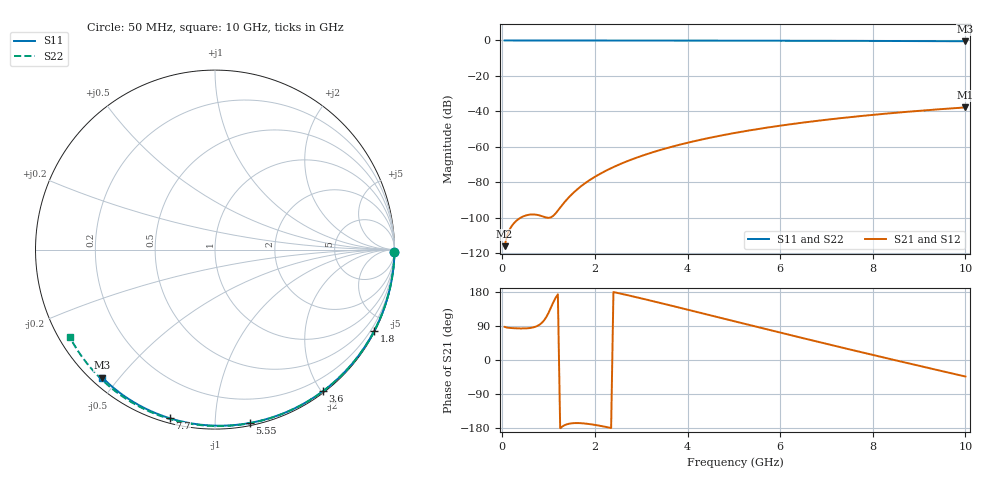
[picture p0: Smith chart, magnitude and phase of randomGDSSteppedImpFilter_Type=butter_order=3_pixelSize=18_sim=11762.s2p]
! freq	dB(S11)	phase(S11)	dB(S12)	phase(S12)
!  dB(S21)	phase(S21)	dB(S22)	phase(S22)
!S-par simulation data
#  GHz  S  DB  R 50
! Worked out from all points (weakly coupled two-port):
!   200 points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, 50 MHz to 10 GHz, reference 50 ohm
!   highest |S21| = -37.80 dB at 10 GHz (marker M1); lowest = -116.1 dB at 50 MHz (marker M2)
!   lowest |S11| = -0.4 dB at 10 GHz (marker M3), VSWR 39.09, Z = 1.54 - j22.6 ohm
!   |S11| at or under -10 dB: nowhere
!   |S22| runs from -0.5 to 0.0 dB; largest |S21 - S12| = 0
!   S11 on the Smith chart (normalised r, x): 50 MHz: open; 1.8 GHz: 0.04, -4.18; 3.6 GHz: 0.02, -2.02; 5.55 GHz: 0.02, -1.22; 7.7 GHz: 0.02, -0.77; 10 GHz: 0.03, -0.45
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0.05  -0.00 -0.8  -116.13 87.4  -116.13 87.4  -0.00 -0.9
0.45  -0.01 -6.8  -99.36 83.3  -99.36 83.3  -0.01 -7.8
0.9  -0.02 -13.6  -99.58 104.3  -99.58 104.3  -0.02 -15.5
1.3  -0.02 -19.5  -92.68 -175.2  -92.68 -175.2  -0.03 -22.3
1.75  -0.03 -26.2  -81.31 -167.2  -81.31 -167.2  -0.04 -29.8
1.8  -0.03 -26.9  -80.35 -167.9  -80.35 -167.9  -0.04 -30.6
1.85  -0.04 -27.7  -79.45 -168.6  -79.45 -168.6  -0.04 -31.5
2.05  -0.04 -30.6  -76.18 -172.3  -76.18 -172.3  -0.04 -34.8
2.2  -0.04 -32.8  -74.05 -175.7  -74.05 -175.7  -0.05 -37.3
2.5  -0.05 -37.1  -70.31 176.7  -70.31 176.7  -0.05 -42.2
2.9  -0.06 -42.8  -66.16 165.5  -66.16 165.5  -0.06 -48.7
3.4  -0.07 -49.9  -61.91 150.9  -61.91 150.9  -0.07 -56.6
3.6  -0.07 -52.6  -60.43 144.9  -60.43 144.9  -0.08 -59.7
4.3  -0.09 -62.2  -55.95 123.8  -55.95 123.8  -0.10 -70.5
5.05  -0.11 -72.2  -52.07 101.0  -52.07 101.0  -0.12 -81.7
5.55  -0.13 -78.6  -49.88 85.9  -49.88 85.9  -0.14 -88.9
6.1  -0.15 -85.6  -47.74 69.4  -47.74 69.4  -0.17 -96.7
6.7  -0.18 -93.0  -45.69 51.5  -45.69 51.5  -0.20 -105.0
7.7  -0.24 -105.0  -42.78 22.1  -42.78 22.1  -0.27 -118.5
8.35  -0.29 -112.6  -41.16 3.3  -41.16 3.3  -0.32 -127.1
9.2  -0.36 -122.3  -39.31 -21.0  -39.31 -21.0  -0.41 -138.3
10  -0.44 -131.3  -37.80 -43.6  -37.80 -43.6  -0.50 -148.9
